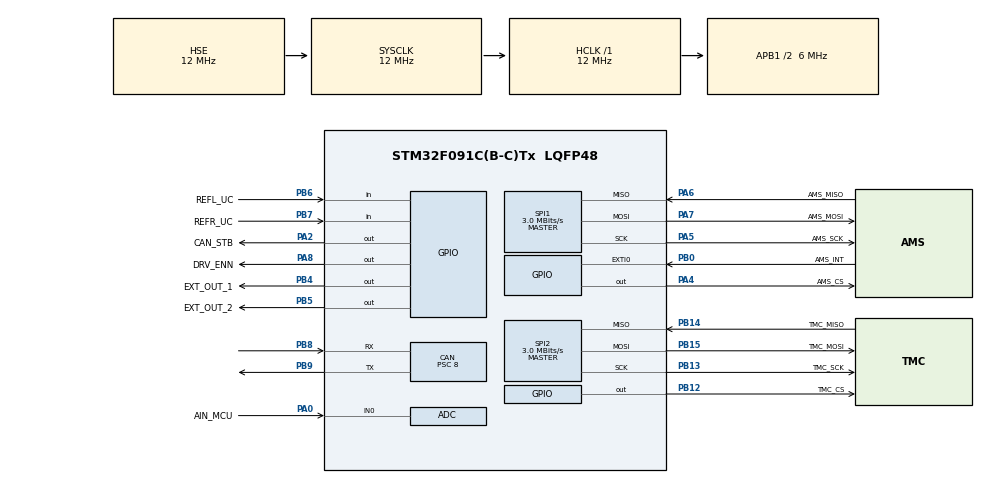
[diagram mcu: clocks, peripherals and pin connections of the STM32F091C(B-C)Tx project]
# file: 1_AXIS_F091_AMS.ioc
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CAN.BS1=CAN_BS1_2TQ
CAN.CalculateBaudRate=187500
CAN.CalculateTimeBit=5333
CAN.CalculateTimeQuantum=1333.3333333333333
CAN.Mode=CAN_MODE_NORMAL
CAN.Prescaler=8
Mcu.Family=STM32F0
Mcu.Name=STM32F091C(B-C)Tx
Mcu.Package=LQFP48
NVIC.CEC_CAN_IRQn=true\:0\:0\:false\:false\:true\:true\:true\:true
NVIC.EXTI0_1_IRQn=true\:0\:0\:false\:false\:true\:true\:true\:true
PA0.GPIO_Label=AIN_MCU
PA0.Mode=IN0
PA0.Signal=ADC_IN0
PA13.GPIO_Label=SWDIO
PA13.Mode=Serial_Wire
PA13.Signal=SYS_SWDIO
PA14.GPIO_Label=SWCLK
PA14.Mode=Serial_Wire
PA14.Signal=SYS_SWCLK
PA2.GPIO_Label=CAN_STB
PA2.Signal=GPIO_Output
PA4.GPIO_Label=AMS_CS
PA4.Signal=GPIO_Output
PA5.GPIO_Label=AMS_SCK
PA5.Mode=Full_Duplex_Master
PA5.Signal=SPI1_SCK
PA6.GPIO_Label=AMS_MISO
PA6.Mode=Full_Duplex_Master
PA6.Signal=SPI1_MISO
PA7.GPIO_Label=AMS_MOSI
PA7.Mode=Full_Duplex_Master
PA7.Signal=SPI1_MOSI
PA8.GPIO_Label=DRV_ENN
PA8.Signal=GPIO_Output
PB0.GPIO_Label=AMS_INT
PB0.GPIO_ModeDefaultEXTI=GPIO_MODE_IT_RISING
PB0.Signal=GPXTI0
PB12.GPIO_Label=TMC_CS
PB12.PinState=GPIO_PIN_SET
PB12.Signal=GPIO_Output
PB13.GPIO_Label=TMC_SCK
PB13.Mode=Full_Duplex_Master
PB13.Signal=SPI2_SCK
PB14.GPIO_Label=TMC_MISO
PB14.Mode=Full_Duplex_Master
PB14.Signal=SPI2_MISO
PB15.GPIO_Label=TMC_MOSI
PB15.Mode=Full_Duplex_Master
PB15.Signal=SPI2_MOSI
PB4.GPIO_Label=EXT_OUT_1
PB4.GPIO_PuPd=GPIO_PULLDOWN
PB4.Signal=GPIO_Output
PB5.GPIO_Label=EXT_OUT_2
PB5.GPIO_ModeDefaultOutputPP=GPIO_MODE_OUTPUT_PP
PB5.GPIO_PuPd=GPIO_PULLDOWN
PB5.Signal=GPIO_Output
PB6.GPIO_Label=REFL_UC
PB6.GPIO_PuPd=GPIO_PULLDOWN
PB6.Signal=GPIO_Input
PB7.GPIO_Label=REFR_UC
PB7.GPIO_PuPd=GPIO_PULLDOWN
PB7.Signal=GPIO_Input
PB8.Mode=CAN_Activate
PB8.Signal=CAN_RX
PB9.Mode=CAN_Activate
PB9.Signal=CAN_TX
PF0-OSC_IN.Mode=HSE-External-Oscillator
PF0-OSC_IN.Signal=RCC_OSC_IN
PF1-OSC_OUT.Mode=HSE-External-Oscillator
PF1-OSC_OUT.Signal=RCC_OSC_OUT
ProjectManager.HeapSize=0x200
ProjectManager.StackSize=0x400
ProjectManager.TargetToolchain=STM32CubeIDE
RCC.AHBFreq_Value=12000000
RCC.APB1CLKDivider=RCC_HCLK_DIV2
RCC.APB1Freq_Value=6000000
RCC.APB1TimFreq_Value=12000000
RCC.HCLKFreq_Value=12000000
RCC.HSE_VALUE=12000000
RCC.PLLSourceVirtual=RCC_PLLSOURCE_HSE
RCC.SYSCLKFreq_VALUE=12000000
RCC.SYSCLKSource=RCC_SYSCLKSOURCE_HSE
SPI1.CalculateBaudRate=3.0 MBits/s
SPI1.DataSize=SPI_DATASIZE_8BIT
SPI1.Direction=SPI_DIRECTION_2LINES
SPI1.Mode=SPI_MODE_MASTER
SPI1.VirtualType=VM_MASTER
SPI2.CalculateBaudRate=3.0 MBits/s
SPI2.DataSize=SPI_DATASIZE_8BIT
SPI2.Direction=SPI_DIRECTION_2LINES
SPI2.Mode=SPI_MODE_MASTER
SPI2.VirtualType=VM_MASTER
board=custom

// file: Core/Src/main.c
/* USER CODE BEGIN Header */
/**
  ******************************************************************************
  * @file           : main.c
  * @brief          : Main program body
  ******************************************************************************
  * @attention
  *
  * Copyright (c) 2022 STMicroelectronics.
  * All rights reserved.
  *
  * This software is licensed under terms that can be found in the LICENSE file
  * in the root directory of this software component.
  * If no LICENSE file comes with this software, it is provided AS-IS.
  *
  ******************************************************************************
  */
/* USER CODE END Header */
#include "main.h"

ADC_HandleTypeDef hadc;

CAN_HandleTypeDef hcan;

SPI_HandleTypeDef hspi1;
SPI_HandleTypeDef hspi2;

void SystemClock_Config(void);
static void MX_GPIO_Init(void);
static void MX_ADC_Init(void);
static void MX_CAN_Init(void);
static void MX_SPI1_Init(void);
static void MX_SPI2_Init(void);

/* USER CODE BEGIN 0 */

RampConfig Ramp1;

/* Current config */
CurrentConfig CurrentSetting1;

/* User Settings */
int AMS_ENB = 1; // 0 = disable Hall sensor , 1 = enable Hall sensor
int ENC_ENB = 0; // 0 = disable Encoder , 1 = enable Encoder
int ENC_HOME = 0; // 0 = don't reset ENC counter at Z-event, 1 = reset at Z-event (for homing)
int STG_ENB = 0; // 0 = disable Stallguard, 1 = enable Stallguard
int32_t AMS_Resolution =  4096; // Hall sensor resolution
int32_t ENC_Resolution =  8000; // Encoder resolution

/* CAN VARIABLES */  //
CAN_TxHeaderTypeDef CANTxHeader;
CAN_RxHeaderTypeDef CANRxHeader;

uint8_t CANTxData[8];	//CANTX data array
uint8_t CANRxData[8];	//CANRX data array
uint32_t TxMailbox[3];	//CAN Mailbox
int Datacheck;			//temp value for checking incomming CAN Data

/*  CAN RECEIVE INTERRUPT */
void HAL_CAN_RxFifo0MsgPendingCallback(CAN_HandleTypeDef *hcan)
{
	HAL_CAN_GetRxMessage(hcan, CAN_RX_FIFO0, &CANRxHeader, CANRxData);

	if (CANRxData[0] == 0x01)
	{
		Datacheck = 1;
	}
}

void HAL_GPIO_EXTI_Callback(uint16_t GPIO_Pin)
{
	if(GPIO_Pin == AMS_INT_Pin && AMS_Ready == 0)
	{
		AMS_Ready = 1;
	}
}

/* USER CODE END 0 */

int main(void)
{

  /* MCU Configuration--------------------------------------------------------*/

  /* Reset of all peripherals, Initializes the Flash interface and the Systick. */
  HAL_Init();

  /* Configure the system clock */
  SystemClock_Config();

  /* Initialize all configured peripherals */
  MX_GPIO_Init();
  MX_ADC_Init();
  MX_CAN_Init();
  MX_SPI1_Init();
  MX_SPI2_Init();
  /* USER CODE BEGIN 2 */

  HAL_Delay(25);

  Ramp1.VSTART 	= 10;
  Ramp1.A1 		= 1000;
  Ramp1.V1 		= 10000;
  Ramp1.AMAX 	= 12800;
  Ramp1.VMAX 	= 51200;
  Ramp1.DMAX 	= 700;
  Ramp1.D1 		= 1400;
  Ramp1.VSTOP 	= 10;

  CurrentSetting1.IHOLD = 3;
  CurrentSetting1.IRUN 	= 1;

  int h = 0;
  uint32_t Enc_Position[500];

  TMC5160_Basic_Init(&CurrentSetting1);
  TMC5160_Drive_Enable(1);

  TMC5160_Set_Home();
  AMS5055_Basic_Init();

  TMC5160_Rotate_To(51200, &Ramp1); // move to Position X
  TMC5160_Rotate_To(0, &Ramp1); // move to Position X

  /* USER CODE END 2 */

  /* Infinite loop */
  while (1)
  {

  }
}

void SystemClock_Config(void)
{
  RCC_OscInitTypeDef RCC_OscInitStruct = {0};
  RCC_ClkInitTypeDef RCC_ClkInitStruct = {0};

  /** Initializes the RCC Oscillators according to the specified parameters
  * in the RCC_OscInitTypeDef structure.
  */
  RCC_OscInitStruct.OscillatorType = RCC_OSCILLATORTYPE_HSI14|RCC_OSCILLATORTYPE_HSE;
  RCC_OscInitStruct.HSEState = RCC_HSE_ON;
  RCC_OscInitStruct.HSI14State = RCC_HSI14_ON;
  RCC_OscInitStruct.HSI14CalibrationValue = 16;
  RCC_OscInitStruct.PLL.PLLState = RCC_PLL_NONE;
  if (HAL_RCC_OscConfig(&RCC_OscInitStruct) != HAL_OK)
  {
    Error_Handler();
  }

  /** Initializes the CPU, AHB and APB buses clocks
  */
  RCC_ClkInitStruct.ClockType = RCC_CLOCKTYPE_HCLK|RCC_CLOCKTYPE_SYSCLK
                              |RCC_CLOCKTYPE_PCLK1;
  RCC_ClkInitStruct.SYSCLKSource = RCC_SYSCLKSOURCE_HSE;
  RCC_ClkInitStruct.AHBCLKDivider = RCC_SYSCLK_DIV1;
  RCC_ClkInitStruct.APB1CLKDivider = RCC_HCLK_DIV2;

  if (HAL_RCC_ClockConfig(&RCC_ClkInitStruct, FLASH_LATENCY_0) != HAL_OK)
  {
    Error_Handler();
  }
}

static void MX_ADC_Init(void)
{

  ADC_ChannelConfTypeDef sConfig = {0};

  /** Configure the global features of the ADC (Clock, Resolution, Data Alignment and number of conversion)
  */
  hadc.Instance = ADC1;
  hadc.Init.ClockPrescaler = ADC_CLOCK_ASYNC_DIV1;
  hadc.Init.Resolution = ADC_RESOLUTION_12B;
  hadc.Init.DataAlign = ADC_DATAALIGN_RIGHT;
  hadc.Init.ScanConvMode = ADC_SCAN_DIRECTION_FORWARD;
  hadc.Init.EOCSelection = ADC_EOC_SINGLE_CONV;
  hadc.Init.LowPowerAutoWait = DISABLE;
  hadc.Init.LowPowerAutoPowerOff = DISABLE;
  hadc.Init.ContinuousConvMode = DISABLE;
  hadc.Init.DiscontinuousConvMode = DISABLE;
  hadc.Init.ExternalTrigConv = ADC_SOFTWARE_START;
  hadc.Init.ExternalTrigConvEdge = ADC_EXTERNALTRIGCONVEDGE_NONE;
  hadc.Init.DMAContinuousRequests = DISABLE;
  hadc.Init.Overrun = ADC_OVR_DATA_PRESERVED;
  if (HAL_ADC_Init(&hadc) != HAL_OK)
  {
    Error_Handler();
  }

  /** Configure for the selected ADC regular channel to be converted.
  */
  sConfig.Channel = ADC_CHANNEL_0;
  sConfig.Rank = ADC_RANK_CHANNEL_NUMBER;
  sConfig.SamplingTime = ADC_SAMPLETIME_1CYCLE_5;
  if (HAL_ADC_ConfigChannel(&hadc, &sConfig) != HAL_OK)
  {
    Error_Handler();
  }

}

static void MX_CAN_Init(void)
{

  /* USER CODE BEGIN CAN_Init 0 */
	//HAL_GPIO_WritePin(GPIOA,CAN_STB_Pin,0); // Set STB pin LOW for normal operation
  /* USER CODE END CAN_Init 0 */

  hcan.Instance = CAN;
  hcan.Init.Prescaler = 8;
  hcan.Init.Mode = CAN_MODE_NORMAL;
  hcan.Init.SyncJumpWidth = CAN_SJW_1TQ;
  hcan.Init.TimeSeg1 = CAN_BS1_2TQ;
  hcan.Init.TimeSeg2 = CAN_BS2_1TQ;
  hcan.Init.TimeTriggeredMode = DISABLE;
  hcan.Init.AutoBusOff = DISABLE;
  hcan.Init.AutoWakeUp = DISABLE;
  hcan.Init.AutoRetransmission = DISABLE;
  hcan.Init.ReceiveFifoLocked = DISABLE;
  hcan.Init.TransmitFifoPriority = DISABLE;
  if (HAL_CAN_Init(&hcan) != HAL_OK)
  {
    Error_Handler();
  }
  /* USER CODE BEGIN CAN_Init 2 */

  /* CAN filter */

  CAN_FilterTypeDef  sFilterConfig;

  sFilterConfig.FilterActivation = ENABLE;
  sFilterConfig.FilterBank = 10;
  sFilterConfig.FilterFIFOAssignment = CAN_RX_FIFO0;
  sFilterConfig.FilterIdHigh = 0x0000;
  sFilterConfig.FilterIdLow = 0x0000;
  sFilterConfig.FilterMaskIdHigh = 0x0000;
  sFilterConfig.FilterMaskIdLow = 0x0000;
  sFilterConfig.FilterMode = CAN_FILTERMODE_IDMASK;
  sFilterConfig.FilterScale = CAN_FILTERSCALE_32BIT;
  sFilterConfig.SlaveStartFilterBank = 0;

  HAL_CAN_ConfigFilter(&hcan, &sFilterConfig);

  HAL_CAN_Start(&hcan);
  HAL_CAN_ActivateNotification(&hcan, CAN_IT_RX_FIFO0_MSG_PENDING);

  /* USER CODE END CAN_Init 2 */

}

static void MX_SPI1_Init(void)
{

  /* SPI1 parameter configuration*/
  hspi1.Instance = SPI1;
  hspi1.Init.Mode = SPI_MODE_MASTER;
  hspi1.Init.Direction = SPI_DIRECTION_2LINES;
  hspi1.Init.DataSize = SPI_DATASIZE_8BIT;
  hspi1.Init.CLKPolarity = SPI_POLARITY_LOW;
  hspi1.Init.CLKPhase = SPI_PHASE_1EDGE;
  hspi1.Init.NSS = SPI_NSS_SOFT;
  hspi1.Init.BaudRatePrescaler = SPI_BAUDRATEPRESCALER_2;
  hspi1.Init.FirstBit = SPI_FIRSTBIT_MSB;
  hspi1.Init.TIMode = SPI_TIMODE_DISABLE;
  hspi1.Init.CRCCalculation = SPI_CRCCALCULATION_DISABLE;
  hspi1.Init.CRCPolynomial = 7;
  hspi1.Init.CRCLength = SPI_CRC_LENGTH_DATASIZE;
  hspi1.Init.NSSPMode = SPI_NSS_PULSE_ENABLE;
  if (HAL_SPI_Init(&hspi1) != HAL_OK)
  {
    Error_Handler();
  }

}

static void MX_SPI2_Init(void)
{

  /* SPI2 parameter configuration*/
  hspi2.Instance = SPI2;
  hspi2.Init.Mode = SPI_MODE_MASTER;
  hspi2.Init.Direction = SPI_DIRECTION_2LINES;
  hspi2.Init.DataSize = SPI_DATASIZE_8BIT;
  hspi2.Init.CLKPolarity = SPI_POLARITY_LOW;
  hspi2.Init.CLKPhase = SPI_PHASE_1EDGE;
  hspi2.Init.NSS = SPI_NSS_SOFT;
  hspi2.Init.BaudRatePrescaler = SPI_BAUDRATEPRESCALER_2;
  hspi2.Init.FirstBit = SPI_FIRSTBIT_MSB;
  hspi2.Init.TIMode = SPI_TIMODE_DISABLE;
  hspi2.Init.CRCCalculation = SPI_CRCCALCULATION_DISABLE;
  hspi2.Init.CRCPolynomial = 7;
  hspi2.Init.CRCLength = SPI_CRC_LENGTH_DATASIZE;
  hspi2.Init.NSSPMode = SPI_NSS_PULSE_ENABLE;
  if (HAL_SPI_Init(&hspi2) != HAL_OK)
  {
    Error_Handler();
  }

}

static void MX_GPIO_Init(void)
{
  GPIO_InitTypeDef GPIO_InitStruct = {0};

  /* GPIO Ports Clock Enable */
  __HAL_RCC_GPIOF_CLK_ENABLE();
  __HAL_RCC_GPIOA_CLK_ENABLE();
  __HAL_RCC_GPIOB_CLK_ENABLE();

  /*Configure GPIO pin Output Level */
  HAL_GPIO_WritePin(GPIOA, CAN_STB_Pin|AMS_CS_Pin|DRV_ENN_Pin, GPIO_PIN_RESET);

  /*Configure GPIO pin Output Level */
  HAL_GPIO_WritePin(TMC_CS_GPIO_Port, TMC_CS_Pin, GPIO_PIN_SET);

  /*Configure GPIO pin Output Level */
  HAL_GPIO_WritePin(GPIOB, EXT_OUT_1_Pin|EXT_OUT_2_Pin, GPIO_PIN_RESET);

  /*Configure GPIO pins : CAN_STB_Pin AMS_CS_Pin DRV_ENN_Pin */
  GPIO_InitStruct.Pin = CAN_STB_Pin|AMS_CS_Pin|DRV_ENN_Pin;
  GPIO_InitStruct.Mode = GPIO_MODE_OUTPUT_PP;
  GPIO_InitStruct.Pull = GPIO_NOPULL;
  GPIO_InitStruct.Speed = GPIO_SPEED_FREQ_LOW;
  HAL_GPIO_Init(GPIOA, &GPIO_InitStruct);

  /*Configure GPIO pin : AMS_INT_Pin */
  GPIO_InitStruct.Pin = AMS_INT_Pin;
  GPIO_InitStruct.Mode = GPIO_MODE_IT_RISING;
  GPIO_InitStruct.Pull = GPIO_NOPULL;
  HAL_GPIO_Init(AMS_INT_GPIO_Port, &GPIO_InitStruct);

  /*Configure GPIO pin : TMC_CS_Pin */
  GPIO_InitStruct.Pin = TMC_CS_Pin;
  GPIO_InitStruct.Mode = GPIO_MODE_OUTPUT_PP;
  GPIO_InitStruct.Pull = GPIO_NOPULL;
  GPIO_InitStruct.Speed = GPIO_SPEED_FREQ_LOW;
  HAL_GPIO_Init(TMC_CS_GPIO_Port, &GPIO_InitStruct);

  /*Configure GPIO pins : EXT_OUT_1_Pin EXT_OUT_2_Pin */
  GPIO_InitStruct.Pin = EXT_OUT_1_Pin|EXT_OUT_2_Pin;
  GPIO_InitStruct.Mode = GPIO_MODE_OUTPUT_PP;
  GPIO_InitStruct.Pull = GPIO_PULLDOWN;
  GPIO_InitStruct.Speed = GPIO_SPEED_FREQ_LOW;
  HAL_GPIO_Init(GPIOB, &GPIO_InitStruct);

  /*Configure GPIO pins : REFL_UC_Pin REFR_UC_Pin */
  GPIO_InitStruct.Pin = REFL_UC_Pin|REFR_UC_Pin;
  GPIO_InitStruct.Mode = GPIO_MODE_INPUT;
  GPIO_InitStruct.Pull = GPIO_PULLDOWN;
  HAL_GPIO_Init(GPIOB, &GPIO_InitStruct);

  /* EXTI interrupt init*/
  HAL_NVIC_SetPriority(EXTI0_1_IRQn, 0, 0);
  HAL_NVIC_EnableIRQ(EXTI0_1_IRQn);

/* USER CODE BEGIN MX_GPIO_Init_2 */
    HAL_GPIO_WritePin(GPIOB, TMC_CS_Pin, 1); // make CS high
/* USER CODE END MX_GPIO_Init_2 */
}

void Error_Handler(void)
{
  __disable_irq();
  while (1)
  {
  }
}
